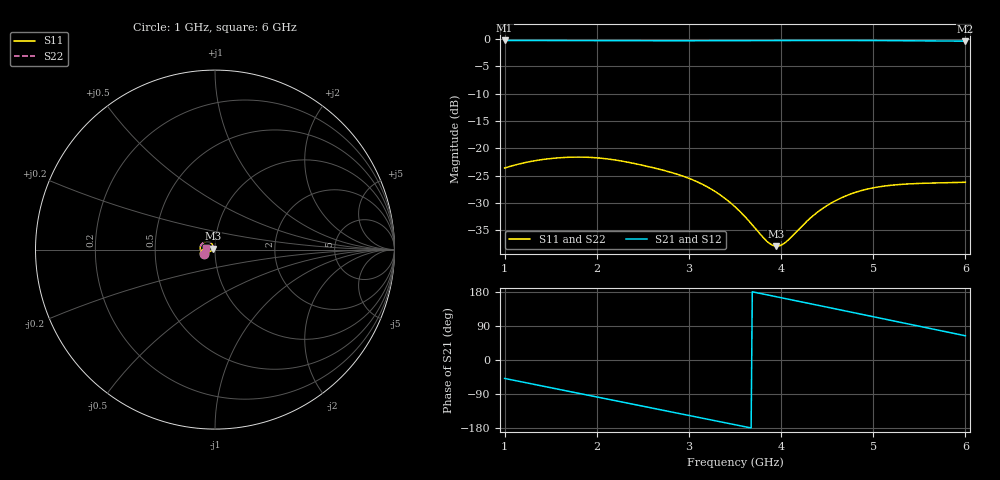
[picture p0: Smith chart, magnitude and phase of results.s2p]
! rfsim (KiCad + openEMS)
# HZ S RI R 50
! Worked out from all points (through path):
!   401 points, 1 GHz to 6 GHz, reference 50 ohm
!   highest |S21| = -0.27 dB at 1 GHz (marker M1); lowest = -0.4 dB at 6 GHz (marker M2)
!   group delay of S21, straight-line fit = 137 ps
!   lowest |S11| = -37.9 dB at 3.95 GHz (marker M3), VSWR 1.03, Z = 48.8 + j0.43 ohm
!   |S11| at or under -10 dB: start of sweep to end of sweep
!   |S22| runs from -37.9 to -21.6 dB; largest |S21 - S12| = 0.0011
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1e9  -0.0624 -0.0217  0.6406 -0.7283  0.641 -0.7293  -0.0627 -0.0217
1.4375e9  -0.0794 -0.00551  0.3323 -0.9108  0.3322 -0.9102  -0.0792 -0.00556
1.8375e9  -0.0814 0.017  0.00889 -0.9689  0.00898 -0.9693  -0.0815 0.0171
2.0375e9  -0.0765 0.0277  -0.1559 -0.956  -0.1562 -0.956  -0.0765 0.0278
2.2375e9  -0.0685 0.0358  -0.3162 -0.9146  -0.3162 -0.9143  -0.0685 0.0358
2.45e9  -0.0586 0.0408  -0.4753 -0.841  -0.4751 -0.841  -0.0587 0.0407
2.675e9  -0.0482 0.0429  -0.6253 -0.734  -0.6253 -0.7342  -0.0482 0.043
2.9125e9  -0.0371 0.0427  -0.7588 -0.594  -0.759 -0.5939  -0.037 0.0427
3.1375e9  -0.0264 0.0393  -0.8587 -0.4393  -0.8585 -0.4392  -0.0264 0.0392
3.325e9  -0.0186 0.0334  -0.9189 -0.2968  -0.9188 -0.2969  -0.0187 0.0334
3.5e9  -0.0134 0.026  -0.9541 -0.1558  -0.9542 -0.1559  -0.0134 0.026
3.8375e9  -0.0107 0.00956  -0.9602 0.1257  -0.9602 0.1258  -0.0107 0.00955
3.95e9  -0.012 0.0044  -0.9438 0.2189  -0.9437 0.2189  -0.012 0.00438
4.0625e9  -0.0141 -0.000235  -0.9182 0.3102  -0.9181 0.3102  -0.0141 -0.000247
4.3375e9  -0.0223 -0.00839  -0.8185 0.52  -0.8186 0.5199  -0.0223 -0.00838
4.5125e9  -0.0285 -0.0108  -0.7295 0.6389  -0.7296 0.639  -0.0285 -0.0108
4.7125e9  -0.0354 -0.011  -0.6063 0.7564  -0.6062 0.7566  -0.0353 -0.011
4.95e9  -0.0419 -0.0083  -0.4354 0.865  -0.4352 0.8649  -0.0419 -0.00837
5.175e9  -0.0456 -0.00445  -0.2556 0.9321  -0.2558 0.932  -0.0457 -0.00441
5.375e9  -0.0472 -0.00109  -0.0878 0.9602  -0.088 0.9604  -0.0472 -0.000942
5.575e9  -0.048 0.00185  0.0814 0.958  0.0816 0.9583  -0.0478 0.00173
6e9  -0.0484 0.00722  0.4206 0.8588  0.4201 0.8583  -0.0488 0.00761
